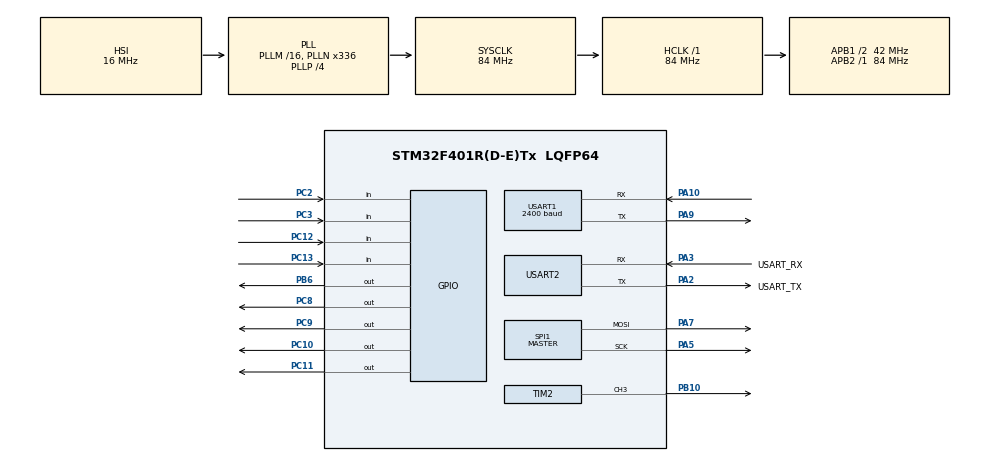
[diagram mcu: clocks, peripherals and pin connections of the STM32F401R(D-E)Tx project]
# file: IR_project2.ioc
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Dma.Request0=SPI1_TX
Dma.SPI1_TX.0.Direction=DMA_MEMORY_TO_PERIPH
Dma.SPI1_TX.0.FIFOMode=DMA_FIFOMODE_DISABLE
Dma.SPI1_TX.0.Instance=DMA2_Stream3
Dma.SPI1_TX.0.MemDataAlignment=DMA_MDATAALIGN_BYTE
Dma.SPI1_TX.0.MemInc=DMA_MINC_ENABLE
Dma.SPI1_TX.0.Mode=DMA_NORMAL
Dma.SPI1_TX.0.PeriphDataAlignment=DMA_PDATAALIGN_BYTE
Dma.SPI1_TX.0.PeriphInc=DMA_PINC_DISABLE
Dma.SPI1_TX.0.Priority=DMA_PRIORITY_LOW
Mcu.Family=STM32F4
Mcu.Name=STM32F401R(D-E)Tx
Mcu.Package=LQFP64
NVIC.DMA2_Stream3_IRQn=true\:0\:0\:false\:false\:true\:false\:true\:true
NVIC.PriorityGroup=NVIC_PRIORITYGROUP_0
NVIC.TIM3_IRQn=true\:0\:0\:false\:false\:true\:true\:true\:true
NVIC.TIM4_IRQn=true\:0\:0\:false\:false\:true\:true\:true\:true
NVIC.TIM5_IRQn=true\:0\:0\:false\:false\:true\:true\:true\:true
NVIC.USART1_IRQn=true\:0\:0\:false\:false\:true\:true\:true\:true
PA10.Mode=Asynchronous
PA10.Signal=USART1_RX
PA13.GPIO_Label=TMS
PA13.Mode=Serial_Wire
PA13.Signal=SYS_JTMS-SWDIO
PA14.GPIO_Label=TCK
PA14.Mode=Serial_Wire
PA14.Signal=SYS_JTCK-SWCLK
PA2.GPIO_Label=USART_TX
PA2.GPIO_Mode=GPIO_MODE_AF_PP
PA2.GPIO_PuPd=GPIO_NOPULL
PA2.GPIO_Speed=GPIO_SPEED_FREQ_LOW
PA2.Mode=Asynchronous
PA2.Signal=USART2_TX
PA3.GPIO_Label=USART_RX
PA3.GPIO_Mode=GPIO_MODE_AF_PP
PA3.GPIO_PuPd=GPIO_NOPULL
PA3.GPIO_Speed=GPIO_SPEED_FREQ_LOW
PA3.Mode=Asynchronous
PA3.Signal=USART2_RX
PA5.Mode=TX_Only_Simplex_Unidirect_Master
PA5.Signal=SPI1_SCK
PA7.Mode=TX_Only_Simplex_Unidirect_Master
PA7.Signal=SPI1_MOSI
PA9.Mode=Asynchronous
PA9.Signal=USART1_TX
PB10.Signal=S_TIM2_CH3
PB3.GPIO_Label=SWO
PB3.Signal=SYS_JTDO-SWO
PB6.Signal=GPIO_Output
PC10.Signal=GPIO_Output
PC11.Signal=GPIO_Output
PC12.Signal=GPIO_Input
PC13-ANTI_TAMP.Signal=GPIO_Input
PC14-OSC32_IN.Mode=LSE-External-Oscillator
PC14-OSC32_IN.Signal=RCC_OSC32_IN
PC15-OSC32_OUT.Mode=LSE-External-Oscillator
PC15-OSC32_OUT.Signal=RCC_OSC32_OUT
PC2.Signal=GPIO_Input
PC3.Signal=GPIO_Input
PC8.Signal=GPIO_Output
PC9.Signal=GPIO_Output
PH0\ -\ OSC_IN.Mode=HSE-External-Clock-Source
PH0\ -\ OSC_IN.Signal=RCC_OSC_IN
PH1\ -\ OSC_OUT.Mode=HSE-External-Clock-Source
PH1\ -\ OSC_OUT.Signal=RCC_OSC_OUT
ProjectManager.HeapSize=0x200
ProjectManager.StackSize=0x400
ProjectManager.TargetToolchain=STM32CubeIDE
RCC.48MHZClocksFreq_Value=48000000
RCC.AHBFreq_Value=84000000
RCC.APB1CLKDivider=RCC_HCLK_DIV2
RCC.APB1Freq_Value=42000000
RCC.APB1TimFreq_Value=84000000
RCC.APB2Freq_Value=84000000
RCC.APB2TimFreq_Value=84000000
RCC.CortexFreq_Value=84000000
RCC.HCLKFreq_Value=84000000
RCC.HSE_VALUE=8000000
RCC.HSI_VALUE=16000000
RCC.PLLN=336
RCC.PLLP=RCC_PLLP_DIV4
RCC.PLLQ=7
RCC.SYSCLKFreq_VALUE=84000000
RCC.SYSCLKSource=RCC_SYSCLKSOURCE_PLLCLK
RCC.VCOOutputFreq_Value=336000000
SH.S_TIM2_CH3.0=TIM2_CH3,PWM Generation3 CH3
SPI1.BaudRatePrescaler=SPI_BAUDRATEPRESCALER_4
SPI1.Direction=SPI_DIRECTION_2LINES
SPI1.Mode=SPI_MODE_MASTER
SPI1.VirtualType=VM_MASTER
TIM2.AutoReloadPreload=TIM_AUTORELOAD_PRELOAD_ENABLE
TIM2.Channel-PWM\ Generation3\ CH3=TIM_CHANNEL_3
TIM2.Period=2210-1
TIM2.Pulse-PWM\ Generation3\ CH3=1105
TIM3.AutoReloadPreload=TIM_AUTORELOAD_PRELOAD_ENABLE
TIM3.Period=35000-1
TIM4.AutoReloadPreload=TIM_AUTORELOAD_PRELOAD_ENABLE
TIM4.Period=52500-1
TIM4.Prescaler=4-1
TIM5.AutoReloadPreload=TIM_AUTORELOAD_PRELOAD_ENABLE
TIM5.Period=4000-1
TIM5.Prescaler=84-1
USART1.BaudRate=2400
USART1.VirtualMode=VM_ASYNC
USART2.VirtualMode=VM_ASYNC
VP_TIM2_VS_ClockSourceINT.Mode=Internal
VP_TIM3_VS_ClockSourceINT.Mode=Internal
VP_TIM4_VS_ClockSourceINT.Mode=Internal
VP_TIM5_VS_ClockSourceINT.Mode=Internal
board=NUCLEO-F401RE

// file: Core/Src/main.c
/* USER CODE BEGIN Header */
/**
  ******************************************************************************
  * @file           : main.c
  * @brief          : Main program body
  ******************************************************************************
  * @attention
  *
  * Copyright (c) 2022 STMicroelectronics.
  * All rights reserved.
  *
  * This software is licensed under terms that can be found in the LICENSE file
  * in the root directory of this software component.
  * If no LICENSE file comes with this software, it is provided AS-IS.
  *
  ******************************************************************************
  */
/* USER CODE END Header */
#include "main.h"

/* USER CODE BEGIN Includes */
#include <string.h>
#include <stdio.h>
/* USER CODE END Includes */

SPI_HandleTypeDef hspi1;
DMA_HandleTypeDef hdma_spi1_tx;

TIM_HandleTypeDef htim2;
TIM_HandleTypeDef htim3;
TIM_HandleTypeDef htim4;
TIM_HandleTypeDef htim5;

UART_HandleTypeDef huart1;
UART_HandleTypeDef huart2;

/* USER CODE BEGIN PV */
int nextBitFlag = 0;
uint8_t receivedByte;

uint16_t colPins[4] = {GPIO_PIN_8, GPIO_PIN_9, GPIO_PIN_10, GPIO_PIN_11};
uint16_t rowPins[4] = {GPIO_PIN_12, GPIO_PIN_13, GPIO_PIN_2, GPIO_PIN_3};
int pressedKey[16]  = {0, 0, 0, 0, 0, 0, 0, 0, 0, 0, 0, 0, 0, 0, 0, 0};
int timePressed[16] = {0, 0, 0, 0, 0, 0, 0, 0, 0, 0, 0, 0, 0, 0, 0, 0};
uint8_t keyColCount = 0;

int ledColCount = 0;
uint8_t ledChars [16][5][2] = {
		{{62,16}, {113,8}, {73,4}, {71,2}, {62,1}}, //0
		{{33,16}, {65,8}, {127,4}, {1,2}, {1,1}},   //1
		{{35,16}, {69,8}, {73,4}, {81,2}, {33,1}},  //2
		{{65,16}, {73,8}, {73,4}, {73,2}, {54,1}},  //3
		{{120,16}, {8,8}, {8,4}, {127,2}, {8,1}},   //4
		{{121,16}, {73,8}, {73,4}, {73,2}, {70,1}}, //5
		{{62,16}, {73,8}, {73,4}, {73,2}, {70,1}},  //6
		{{64,16}, {64,8}, {67,4}, {76,2}, {112,1}}, //7
		{{54,16}, {73,8}, {73,4}, {73,2}, {54,1}},  //8
		{{48,16}, {72,8}, {72,4}, {72,2}, {127,1}}, //9
		{{31,16}, {36,8}, {68,4}, {36,2}, {31,1}},  //A
		{{127,16}, {73,8}, {73,4}, {73,2}, {54,1}}, //B
		{{62,16}, {65,8}, {65,4}, {65,2}, {34,1}},  //C
		{{127,16}, {65,8}, {65,4}, {65,2}, {62,1}}, //D
		{{127,16}, {73,8}, {73,4}, {73,2}, {65,1}}, //E
		{{127,16}, {72,8}, {72,4}, {72,2}, {64,1}}  //F
};

uint8_t matrix[5][2];
/* USER CODE END PV */

void SystemClock_Config(void);
static void MX_GPIO_Init(void);
static void MX_DMA_Init(void);
static void MX_USART2_UART_Init(void);
static void MX_TIM2_Init(void);
static void MX_TIM3_Init(void);
static void MX_USART1_UART_Init(void);
static void MX_TIM4_Init(void);
static void MX_SPI1_Init(void);
static void MX_TIM5_Init(void);

/* USER CODE BEGIN 0 */
void sendByte(char byte);
/* USER CODE END 0 */

int main(void)
{

  /* MCU Configuration--------------------------------------------------------*/

  /* Reset of all peripherals, Initializes the Flash interface and the Systick. */
  HAL_Init();

  /* Configure the system clock */
  SystemClock_Config();

  /* Initialize all configured peripherals */
  MX_GPIO_Init();
  MX_DMA_Init();
  MX_USART2_UART_Init();
  MX_TIM2_Init();
  MX_TIM3_Init();
  MX_USART1_UART_Init();
  MX_TIM4_Init();
  MX_SPI1_Init();
  MX_TIM5_Init();
  /* USER CODE BEGIN 2 */
  //setup the timer for the PWM generation for IR Tx
  HAL_TIM_Base_Start(&htim2);
  //setup the UART1 in interrupt mode for the IR receive
  HAL_UART_Receive_IT(&huart1, &receivedByte, 1);
  //setup the timer in interrupt mode for the keyboard
  HAL_TIM_Base_Start_IT(&htim4);
  uint8_t index;
  //setup the timer in interrupt mode for the led matrix
  HAL_TIM_Base_Start_IT(&htim5);
  /* USER CODE END 2 */

  /* Infinite loop */
  while (1)
  {

    /* USER CODE BEGIN 3 */
	  for(uint8_t i = 0; i < 4; i++){
			for(uint8_t j = 0; j < 4; j++){
				index = 4*j + i;
				if(timePressed[index] > 3 && pressedKey[index] == 0){
					pressedKey[index] = 1;
					sendByte(index);
				}
			}
		}
  }
  /* USER CODE END 3 */
}

void SystemClock_Config(void)
{
  RCC_OscInitTypeDef RCC_OscInitStruct = {0};
  RCC_ClkInitTypeDef RCC_ClkInitStruct = {0};

  /** Configure the main internal regulator output voltage
  */
  __HAL_RCC_PWR_CLK_ENABLE();
  __HAL_PWR_VOLTAGESCALING_CONFIG(PWR_REGULATOR_VOLTAGE_SCALE2);

  /** Initializes the RCC Oscillators according to the specified parameters
  * in the RCC_OscInitTypeDef structure.
  */
  RCC_OscInitStruct.OscillatorType = RCC_OSCILLATORTYPE_HSI;
  RCC_OscInitStruct.HSIState = RCC_HSI_ON;
  RCC_OscInitStruct.HSICalibrationValue = RCC_HSICALIBRATION_DEFAULT;
  RCC_OscInitStruct.PLL.PLLState = RCC_PLL_ON;
  RCC_OscInitStruct.PLL.PLLSource = RCC_PLLSOURCE_HSI;
  RCC_OscInitStruct.PLL.PLLM = 16;
  RCC_OscInitStruct.PLL.PLLN = 336;
  RCC_OscInitStruct.PLL.PLLP = RCC_PLLP_DIV4;
  RCC_OscInitStruct.PLL.PLLQ = 7;
  if (HAL_RCC_OscConfig(&RCC_OscInitStruct) != HAL_OK)
  {
    Error_Handler();
  }

  /** Initializes the CPU, AHB and APB buses clocks
  */
  RCC_ClkInitStruct.ClockType = RCC_CLOCKTYPE_HCLK|RCC_CLOCKTYPE_SYSCLK
                              |RCC_CLOCKTYPE_PCLK1|RCC_CLOCKTYPE_PCLK2;
  RCC_ClkInitStruct.SYSCLKSource = RCC_SYSCLKSOURCE_PLLCLK;
  RCC_ClkInitStruct.AHBCLKDivider = RCC_SYSCLK_DIV1;
  RCC_ClkInitStruct.APB1CLKDivider = RCC_HCLK_DIV2;
  RCC_ClkInitStruct.APB2CLKDivider = RCC_HCLK_DIV1;

  if (HAL_RCC_ClockConfig(&RCC_ClkInitStruct, FLASH_LATENCY_2) != HAL_OK)
  {
    Error_Handler();
  }
}

static void MX_SPI1_Init(void)
{

  /* SPI1 parameter configuration*/
  hspi1.Instance = SPI1;
  hspi1.Init.Mode = SPI_MODE_MASTER;
  hspi1.Init.Direction = SPI_DIRECTION_2LINES;
  hspi1.Init.DataSize = SPI_DATASIZE_8BIT;
  hspi1.Init.CLKPolarity = SPI_POLARITY_LOW;
  hspi1.Init.CLKPhase = SPI_PHASE_1EDGE;
  hspi1.Init.NSS = SPI_NSS_SOFT;
  hspi1.Init.BaudRatePrescaler = SPI_BAUDRATEPRESCALER_4;
  hspi1.Init.FirstBit = SPI_FIRSTBIT_MSB;
  hspi1.Init.TIMode = SPI_TIMODE_DISABLE;
  hspi1.Init.CRCCalculation = SPI_CRCCALCULATION_DISABLE;
  hspi1.Init.CRCPolynomial = 10;
  if (HAL_SPI_Init(&hspi1) != HAL_OK)
  {
    Error_Handler();
  }

}

static void MX_TIM2_Init(void)
{

  TIM_ClockConfigTypeDef sClockSourceConfig = {0};
  TIM_MasterConfigTypeDef sMasterConfig = {0};
  TIM_OC_InitTypeDef sConfigOC = {0};

  htim2.Instance = TIM2;
  htim2.Init.Prescaler = 0;
  htim2.Init.CounterMode = TIM_COUNTERMODE_UP;
  htim2.Init.Period = 2210-1;
  htim2.Init.ClockDivision = TIM_CLOCKDIVISION_DIV1;
  htim2.Init.AutoReloadPreload = TIM_AUTORELOAD_PRELOAD_ENABLE;
  if (HAL_TIM_Base_Init(&htim2) != HAL_OK)
  {
    Error_Handler();
  }
  sClockSourceConfig.ClockSource = TIM_CLOCKSOURCE_INTERNAL;
  if (HAL_TIM_ConfigClockSource(&htim2, &sClockSourceConfig) != HAL_OK)
  {
    Error_Handler();
  }
  if (HAL_TIM_PWM_Init(&htim2) != HAL_OK)
  {
    Error_Handler();
  }
  sMasterConfig.MasterOutputTrigger = TIM_TRGO_RESET;
  sMasterConfig.MasterSlaveMode = TIM_MASTERSLAVEMODE_DISABLE;
  if (HAL_TIMEx_MasterConfigSynchronization(&htim2, &sMasterConfig) != HAL_OK)
  {
    Error_Handler();
  }
  sConfigOC.OCMode = TIM_OCMODE_PWM1;
  sConfigOC.Pulse = 1105;
  sConfigOC.OCPolarity = TIM_OCPOLARITY_HIGH;
  sConfigOC.OCFastMode = TIM_OCFAST_DISABLE;
  if (HAL_TIM_PWM_ConfigChannel(&htim2, &sConfigOC, TIM_CHANNEL_3) != HAL_OK)
  {
    Error_Handler();
  }
  HAL_TIM_MspPostInit(&htim2);

}

static void MX_TIM3_Init(void)
{

  TIM_ClockConfigTypeDef sClockSourceConfig = {0};
  TIM_MasterConfigTypeDef sMasterConfig = {0};

  htim3.Instance = TIM3;
  htim3.Init.Prescaler = 0;
  htim3.Init.CounterMode = TIM_COUNTERMODE_UP;
  htim3.Init.Period = 35000-1;
  htim3.Init.ClockDivision = TIM_CLOCKDIVISION_DIV1;
  htim3.Init.AutoReloadPreload = TIM_AUTORELOAD_PRELOAD_ENABLE;
  if (HAL_TIM_Base_Init(&htim3) != HAL_OK)
  {
    Error_Handler();
  }
  sClockSourceConfig.ClockSource = TIM_CLOCKSOURCE_INTERNAL;
  if (HAL_TIM_ConfigClockSource(&htim3, &sClockSourceConfig) != HAL_OK)
  {
    Error_Handler();
  }
  sMasterConfig.MasterOutputTrigger = TIM_TRGO_RESET;
  sMasterConfig.MasterSlaveMode = TIM_MASTERSLAVEMODE_DISABLE;
  if (HAL_TIMEx_MasterConfigSynchronization(&htim3, &sMasterConfig) != HAL_OK)
  {
    Error_Handler();
  }

}

static void MX_TIM4_Init(void)
{

  TIM_ClockConfigTypeDef sClockSourceConfig = {0};
  TIM_MasterConfigTypeDef sMasterConfig = {0};

  htim4.Instance = TIM4;
  htim4.Init.Prescaler = 4-1;
  htim4.Init.CounterMode = TIM_COUNTERMODE_UP;
  htim4.Init.Period = 52500-1;
  htim4.Init.ClockDivision = TIM_CLOCKDIVISION_DIV1;
  htim4.Init.AutoReloadPreload = TIM_AUTORELOAD_PRELOAD_ENABLE;
  if (HAL_TIM_Base_Init(&htim4) != HAL_OK)
  {
    Error_Handler();
  }
  sClockSourceConfig.ClockSource = TIM_CLOCKSOURCE_INTERNAL;
  if (HAL_TIM_ConfigClockSource(&htim4, &sClockSourceConfig) != HAL_OK)
  {
    Error_Handler();
  }
  sMasterConfig.MasterOutputTrigger = TIM_TRGO_RESET;
  sMasterConfig.MasterSlaveMode = TIM_MASTERSLAVEMODE_DISABLE;
  if (HAL_TIMEx_MasterConfigSynchronization(&htim4, &sMasterConfig) != HAL_OK)
  {
    Error_Handler();
  }

}

static void MX_TIM5_Init(void)
{

  TIM_ClockConfigTypeDef sClockSourceConfig = {0};
  TIM_MasterConfigTypeDef sMasterConfig = {0};

  htim5.Instance = TIM5;
  htim5.Init.Prescaler = 84-1;
  htim5.Init.CounterMode = TIM_COUNTERMODE_UP;
  htim5.Init.Period = 4000-1;
  htim5.Init.ClockDivision = TIM_CLOCKDIVISION_DIV1;
  htim5.Init.AutoReloadPreload = TIM_AUTORELOAD_PRELOAD_ENABLE;
  if (HAL_TIM_Base_Init(&htim5) != HAL_OK)
  {
    Error_Handler();
  }
  sClockSourceConfig.ClockSource = TIM_CLOCKSOURCE_INTERNAL;
  if (HAL_TIM_ConfigClockSource(&htim5, &sClockSourceConfig) != HAL_OK)
  {
    Error_Handler();
  }
  sMasterConfig.MasterOutputTrigger = TIM_TRGO_RESET;
  sMasterConfig.MasterSlaveMode = TIM_MASTERSLAVEMODE_DISABLE;
  if (HAL_TIMEx_MasterConfigSynchronization(&htim5, &sMasterConfig) != HAL_OK)
  {
    Error_Handler();
  }

}

static void MX_USART1_UART_Init(void)
{

  huart1.Instance = USART1;
  huart1.Init.BaudRate = 2400;
  huart1.Init.WordLength = UART_WORDLENGTH_8B;
  huart1.Init.StopBits = UART_STOPBITS_1;
  huart1.Init.Parity = UART_PARITY_NONE;
  huart1.Init.Mode = UART_MODE_TX_RX;
  huart1.Init.HwFlowCtl = UART_HWCONTROL_NONE;
  huart1.Init.OverSampling = UART_OVERSAMPLING_16;
  if (HAL_UART_Init(&huart1) != HAL_OK)
  {
    Error_Handler();
  }

}

static void MX_USART2_UART_Init(void)
{

  huart2.Instance = USART2;
  huart2.Init.BaudRate = 115200;
  huart2.Init.WordLength = UART_WORDLENGTH_8B;
  huart2.Init.StopBits = UART_STOPBITS_1;
  huart2.Init.Parity = UART_PARITY_NONE;
  huart2.Init.Mode = UART_MODE_TX_RX;
  huart2.Init.HwFlowCtl = UART_HWCONTROL_NONE;
  huart2.Init.OverSampling = UART_OVERSAMPLING_16;
  if (HAL_UART_Init(&huart2) != HAL_OK)
  {
    Error_Handler();
  }

}

static void MX_DMA_Init(void)
{

  /* DMA controller clock enable */
  __HAL_RCC_DMA2_CLK_ENABLE();

  /* DMA interrupt init */
  /* DMA2_Stream3_IRQn interrupt configuration */
  HAL_NVIC_SetPriority(DMA2_Stream3_IRQn, 0, 0);
  HAL_NVIC_EnableIRQ(DMA2_Stream3_IRQn);

}

static void MX_GPIO_Init(void)
{
  GPIO_InitTypeDef GPIO_InitStruct = {0};

  /* GPIO Ports Clock Enable */
  __HAL_RCC_GPIOC_CLK_ENABLE();
  __HAL_RCC_GPIOH_CLK_ENABLE();
  __HAL_RCC_GPIOA_CLK_ENABLE();
  __HAL_RCC_GPIOB_CLK_ENABLE();

  /*Configure GPIO pin Output Level */
  HAL_GPIO_WritePin(GPIOC, GPIO_PIN_8|GPIO_PIN_9|GPIO_PIN_10|GPIO_PIN_11, GPIO_PIN_RESET);

  /*Configure GPIO pin Output Level */
  HAL_GPIO_WritePin(GPIOB, GPIO_PIN_6, GPIO_PIN_RESET);

  /*Configure GPIO pins : PC13 PC2 PC3 PC12 */
  GPIO_InitStruct.Pin = GPIO_PIN_13|GPIO_PIN_2|GPIO_PIN_3|GPIO_PIN_12;
  GPIO_InitStruct.Mode = GPIO_MODE_INPUT;
  GPIO_InitStruct.Pull = GPIO_NOPULL;
  HAL_GPIO_Init(GPIOC, &GPIO_InitStruct);

  /*Configure GPIO pins : PC8 PC9 PC10 PC11 */
  GPIO_InitStruct.Pin = GPIO_PIN_8|GPIO_PIN_9|GPIO_PIN_10|GPIO_PIN_11;
  GPIO_InitStruct.Mode = GPIO_MODE_OUTPUT_PP;
  GPIO_InitStruct.Pull = GPIO_NOPULL;
  GPIO_InitStruct.Speed = GPIO_SPEED_FREQ_LOW;
  HAL_GPIO_Init(GPIOC, &GPIO_InitStruct);

  /*Configure GPIO pin : PB6 */
  GPIO_InitStruct.Pin = GPIO_PIN_6;
  GPIO_InitStruct.Mode = GPIO_MODE_OUTPUT_PP;
  GPIO_InitStruct.Pull = GPIO_NOPULL;
  GPIO_InitStruct.Speed = GPIO_SPEED_FREQ_LOW;
  HAL_GPIO_Init(GPIOB, &GPIO_InitStruct);

}

/* USER CODE BEGIN 4 */
void sendByte(char byte){
	HAL_TIM_Base_Start_IT(&htim3);
	HAL_TIM_PWM_Start(&htim2, TIM_CHANNEL_3); //send start bit
	nextBitFlag = 0;
	while(nextBitFlag == 0){
		//wait
	}

	for(int bitCount = 0; bitCount < 8; bitCount++){
		if((byte & (0x01 << bitCount)) == 0){
			HAL_TIM_PWM_Start(&htim2, TIM_CHANNEL_3); //send 0
		}else{
			HAL_TIM_PWM_Stop(&htim2, TIM_CHANNEL_3); //send 1
		}
		nextBitFlag = 0;
		while(nextBitFlag == 0){
			//wait
		}
	}

	HAL_TIM_PWM_Stop(&htim2, TIM_CHANNEL_3); //send stop bit
	nextBitFlag = 0;
	while(nextBitFlag == 0){
		//wait
	}
	HAL_TIM_Base_Stop_IT(&htim3);
	nextBitFlag = 0;
}

void HAL_TIM_PeriodElapsedCallback(TIM_HandleTypeDef *htim){
	if(htim == &htim3){
		//timer for the UART IR Tx baud rate
		nextBitFlag = 1;
	}else if(htim == &htim4){
		//keyboard column timer
		for(uint8_t KeyRowIndex = 0; KeyRowIndex < 4; KeyRowIndex++){
			uint8_t cur = 4*KeyRowIndex + keyColCount;
			if(HAL_GPIO_ReadPin(GPIOC, rowPins[KeyRowIndex]) == GPIO_PIN_RESET){
				timePressed[cur]++;
			}else{
				pressedKey[cur] = 0;
				timePressed[cur] = 0;
			}
		}

		if(++keyColCount > 3){
			keyColCount = 0;
		}

		for(int i = 0; i < 4; i++){
			HAL_GPIO_WritePin(GPIOC, colPins[i], (i == keyColCount) ? GPIO_PIN_SET : GPIO_PIN_RESET);
		}
	}else if(htim == &htim5){
		//led matrix timer
		HAL_SPI_Transmit_DMA(&hspi1, matrix[ledColCount], 2);
	}
};

void HAL_UART_RxCpltCallback(UART_HandleTypeDef *huart){
	HAL_UART_Receive_IT(&huart1, &receivedByte, 1);
	memcpy(matrix, ledChars[receivedByte], sizeof(matrix));
}

void HAL_SPI_TxCpltCallback(SPI_HandleTypeDef *hspi){
	HAL_GPIO_WritePin(GPIOB, GPIO_PIN_6, GPIO_PIN_SET);
	if(++ledColCount > 4){
		ledColCount = 0;
	}
	HAL_GPIO_WritePin(GPIOB, GPIO_PIN_6, GPIO_PIN_RESET);
}
/* USER CODE END 4 */

void Error_Handler(void)
{
  __disable_irq();
  while (1)
  {
  }
}
